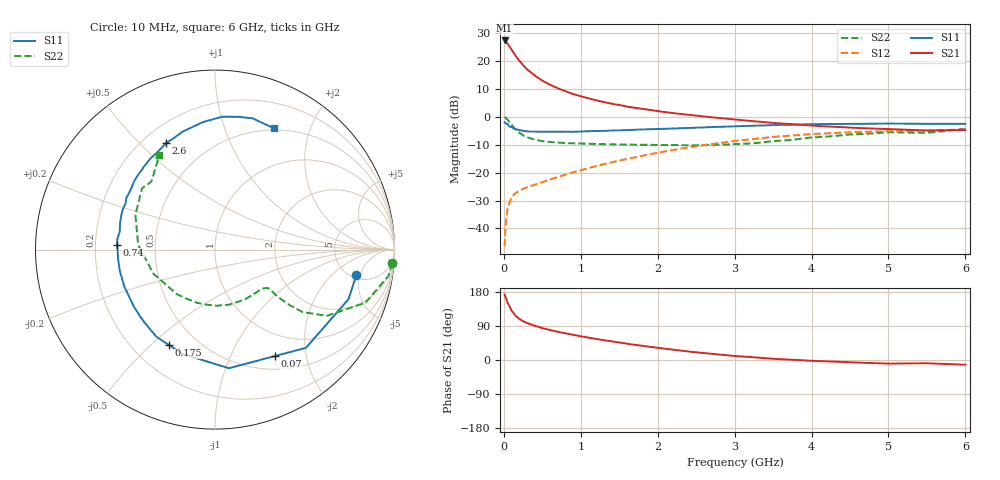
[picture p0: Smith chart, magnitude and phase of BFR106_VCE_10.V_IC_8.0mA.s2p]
! Infineon Technologies  Discrete & RF Semiconductors
! BFR106
! VCE =  10. V,  IC =  8.0 mA
! Common Emitter S-Parameters:  Nov 2015
# GHz  S  MA  R  50
!  f  S11  S21  S12  S22
! GHz  MAG  ANG  MAG  ANG  MAG  ANG  MAG  ANG
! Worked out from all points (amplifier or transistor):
!   210 points, 10 MHz to 6 GHz, reference 50 ohm
!   highest |S21| = 27.4 dB at 10 MHz (marker M1)
!   |S21| within 3 dB of that: start of sweep to 94.01 MHz
!   unconditionally stable (mu >= 1): 548.3 MHz to 1.897 GHz; 5.3 GHz to end of sweep
!   at 185 MHz: K = 0.49, MSG = 23.8 dB, |S12| = -26.8 dB
!   at 1.52 GHz: K = 1.08, MAG = 8.1 dB, |S12| = -15.5 dB
!   at 6 GHz: K = 1.01, MAG = -0.6 dB, |S12| = -4.4 dB
!   S11 on the Smith chart (normalised r, x): 10 MHz: 5.52, -4.35; 70 MHz: 0.68, -1.49; 175 MHz: 0.35, -0.57; 740 MHz: 0.29, +0.02; 2.6 GHz: 0.29, +0.60; 6 GHz: 0.48, +1.49
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0.01  0.8004 -10.2  23.55 172.7  0.0048 83.7  0.9892 -4.4
0.02  0.7934 -20.4  23.1 167.2  0.0099 79.8  0.9772 -8.7
0.05  0.7459 -47.2  20.6 150.0  0.0227 68.3  0.8894 -19.4
0.07  0.6809 -60.5  18.62 143.3  0.0278 61.6  0.8201 -23.3
0.1  0.6655 -83.3  16.28 130.4  0.036 55.2  0.7252 -30.6
0.15  0.6087 -107.6  12.63 116.9  0.0428 47.9  0.6 -35.5
0.175  0.5908 -115.6  11.4 113.2  0.045 46.7  0.5608 -36.0
0.2  0.585 -124.0  10.23 108.6  0.0472 45.6  0.5216 -36.6
0.24  0.565 -133.9  8.799 103.5  0.0502 45.7  0.4762 -36.8
0.3  0.5524 -144.9  7.183 97.5  0.0545 46.6  0.4321 -36.9
0.4  0.5456 -158.1  5.542 90.2  0.0606 48.8  0.3898 -36.0
0.5  0.5434 -167.5  4.475 84.1  0.0677 52.1  0.367 -35.9
0.6  0.5425 -174.6  3.781 79.0  0.0755 54.6  0.3551 -37.0
0.74  0.5453 177.1  3.113 72.8  0.087 57.8  0.3436 -39.2
1.02  0.5503 163.6  2.304 61.8  0.1127 61.8  0.3326 -45.2
1.4  0.572 149.7  1.727 49.3  0.153 64.0  0.3246 -56.7
2.02  0.6086 130.5  1.259 31.6  0.2302 61.4  0.3128 -80.9
2.6  0.6521 114.7  1.015 18.1  0.3115 55.0  0.3128 -108.9
3.1  0.6858 103.4  0.873 9.3  0.3822 47.2  0.3282 -136.9
4.1  0.7426 85.5  0.686 -2.9  0.4995 29.3  0.4352 172.1
5.1  0.7586 72.8  0.6 -9.3  0.5571 12.8  0.5282 138.6
6  0.7512 64.2  0.583 -12.5  0.6003 1.2  0.6123 120.4
